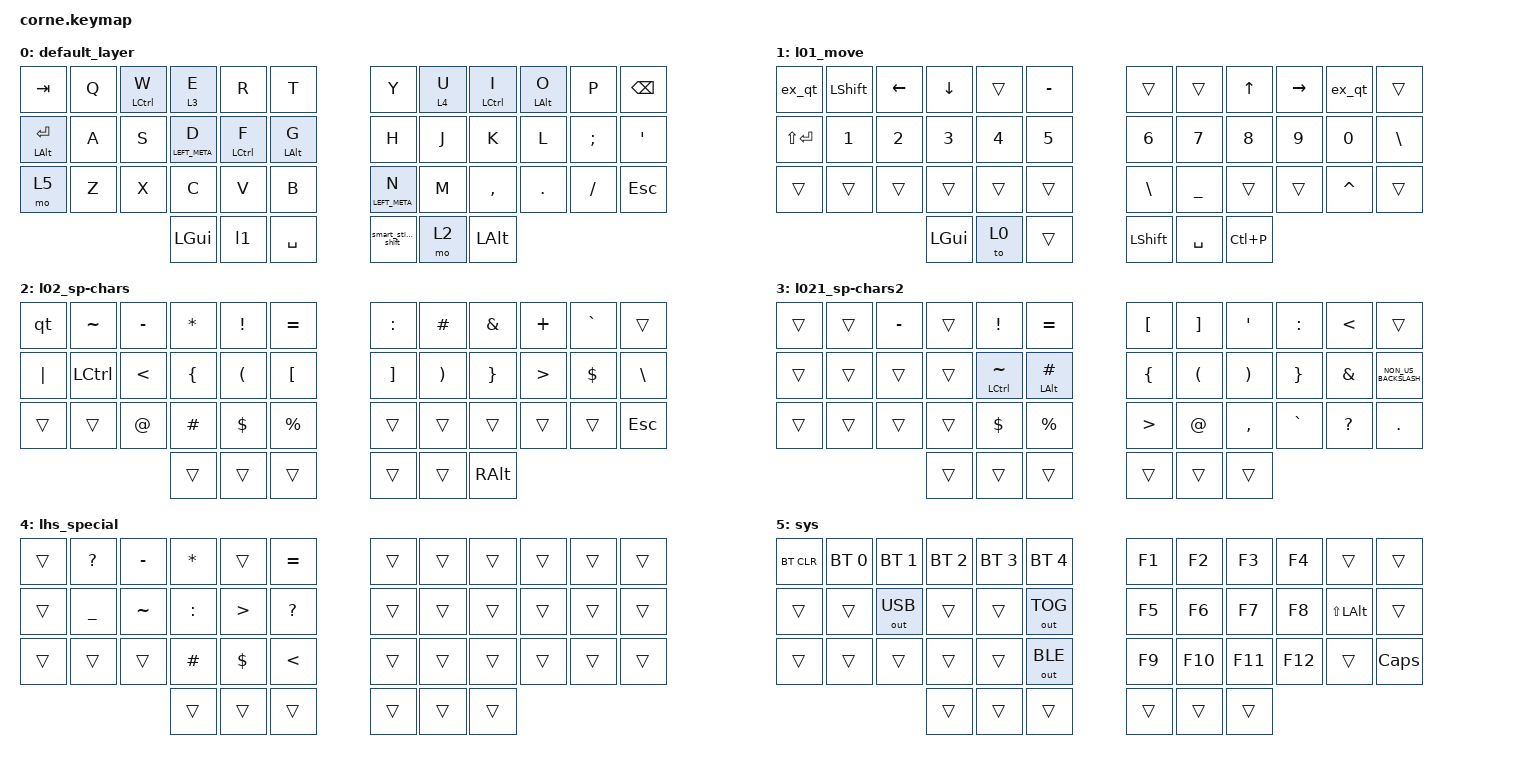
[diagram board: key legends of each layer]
/*
 * Copyright (c) 2020 The ZMK Contributors
 *
 * SPDX-License-Identifier: MIT
 */

#include <behaviors.dtsi>
#include <dt-bindings/zmk/bt.h>
#include <dt-bindings/zmk/keys.h>
#include <dt-bindings/zmk/outputs.h>

/ {
    combos {
        compatible = "zmk,combos";

        c_jo {
            bindings = <&kp ENTER>;
            key-positions = <21 20>;
            require-prior-idle-ms = <125>;
        };

        c_jk {
            bindings = <&kp BACKSPACE>;
            key-positions = <19 20>;
            require-prior-idle-ms = <125>;
        };

        c_wn {
            bindings = <&arr_l>;
            key-positions = <1 30>;
            require-prior-idle-ms = <125>;
            layers = <0>;
        };
    };

    behaviors {
        lt_h: lt_h {
            compatible = "zmk,behavior-hold-tap";
            label = "LT_H";
            bindings = <&mo>, <&kp>;

            #binding-cells = <2>;
            tapping-term-ms = <200>;
        };

        lt_b: lt_b {
            compatible = "zmk,behavior-hold-tap";
            label = "LT_B";
            bindings = <&mo>, <&kp>;

            #binding-cells = <2>;
            tapping-term-ms = <350>;
            quick-tap-ms = <200>;
            require-prior-idle-ms = <100>;
            flavor = "balanced";
        };

        ht_b: ht_b {
            compatible = "zmk,behavior-hold-tap";
            label = "HT_B";
            bindings = <&kp>, <&kp>;

            #binding-cells = <2>;
            tapping-term-ms = <250>;
            quick-tap-ms = <200>;
            require-prior-idle-ms = <75>;
            flavor = "balanced";
        };

        ht_t: ht_t {
            compatible = "zmk,behavior-hold-tap";
            label = "HT_T";
            bindings = <&kp>, <&kp>;

            #binding-cells = <2>;
            tapping-term-ms = <250>;
            quick-tap-ms = <200>;
            require-prior-idle-ms = <150>;
            flavor = "tap-preferred";
        };

        ht_h: ht_h {
            compatible = "zmk,behavior-hold-tap";
            label = "HT_H";
            bindings = <&kp>, <&kp>;

            #binding-cells = <2>;
            tapping-term-ms = <200>;
            quick-tap-ms = <175>;
            require-prior-idle-ms = <0>;
            flavor = "hold-preferred";
        };

        new_behavior: new_behavior {
            compatible = "zmk,behavior-hold-tap";
            label = "NEW_BEHAVIOR";
            bindings = <&mo>, <&kp>;

            #binding-cells = <2>;
            tapping-term-ms = <350>;
            quick-tap-ms = <200>;
            require-prior-idle-ms = <125>;
            flavor = "balanced";
        };

        l1: l1 {
            compatible = "zmk,behavior-tap-dance";
            label = "L1";
            #binding-cells = <0>;
            bindings = <&mo 1>, <&to 1>;
        };

        CM_Shift: CM_Shift {
            compatible = "zmk,behavior-hold-tap";
            label = "CM_SHIFT";
            bindings = <&kp>, <&sticky_SHIFT>;

            #binding-cells = <2>;
            tapping-term-ms = <250>;
            quick-tap-ms = <200>;
            flavor = "tap-preferred";
            require-prior-idle-ms = <0>;
            hold-while-undecided;
        };

        sticky_SHIFT: sticky_SHIFT {
            compatible = "zmk,behavior-sticky-key";
            label = "STICKY_SHIFT";
            bindings = <&kp>;
            #binding-cells = <1>;
            release-after-ms = <2500>;
            quick-release;
        };

        smart_sticky_shift: smart_sticky_shift {
            compatible = "zmk,behavior-mod-morph";
            label = "SMART_STICKY_SHIFT";
            bindings =
                <&CM_Shift LA(LCTRL) LEFT_SHIFT>,
                <&sticky_SHIFT LEFT_SHIFT>;

            #binding-cells = <0>;
            mods = <(MOD_LCTL|MOD_RCTL|MOD_LALT|MOD_RALT|MOD_LGUI|MOD_RGUI)>;
            keep-mods = <(MOD_LCTL|MOD_RCTL|MOD_LALT|MOD_RALT|MOD_LGUI|MOD_RGUI)>;
        };
    };

    macros {
        qt: qt {
            compatible = "zmk,behavior-macro";
            #binding-cells = <0>;
            bindings = <&kp Q &kp T>;
            label = "QT";
        };

        ex_qt: ex_qt {
            compatible = "zmk,behavior-macro";
            #binding-cells = <0>;
            bindings = <&kp AT_SIGN &kp T>;
            label = "EX_QT";
        };

        lm: lm {
            compatible = "zmk,behavior-macro";
            #binding-cells = <0>;
            bindings =
                <&macro_press>,
                <&mo 0 &kp LEFT_SHIFT>,
                <&macro_pause_for_release>,
                <&macro_release>,
                <&mo 0 &kp LEFT_SHIFT>;

            label = "LM";
        };

        arr_l: arr_l {
            compatible = "zmk,behavior-macro";
            #binding-cells = <0>;
            bindings = <&kp MINUS &kp GREATER_THAN>;
            label = "ARR_L";
        };
    };

    keymap {
        compatible = "zmk,keymap";

        default_layer {
            // -----------------------------------------------------------------------------------------
            // |  TAB |  Q  |  W  |  E  |  R  |  T  |   |  Y  |  U   |  I  |  O  |  P  | BSPC |
            // | CTRL |  A  |  S  |  D  |  F  |  G  |   |  H  |  J   |  K  |  L  |  ;  |  '   |
            // | SHFT |  Z  |  X  |  C  |  V  |  B  |   |  N  |  M   |  ,  |  .  |  /  | ESC  |
            //                    | GUI | LWR | SPC |   | ENT | RSE  | ALT |

            bindings = <
&kp TAB             &kp Q  &ht_b LCTRL W  &lt_b 3 E          &kp R          &kp T               &kp Y                &lt_b 4 U  &ht_b LCTRL I  &ht_b LEFT_ALT O  &kp P     &kp BACKSPACE
&mt LEFT_ALT ENTER  &kp A  &kp S          &ht_t LEFT_META D  &ht_b LCTRL F  &ht_b LEFT_ALT G    &kp H                &kp J      &kp K          &kp L             &kp SEMI  &kp SQT
&mo 5               &kp Z  &kp X          &kp C              &kp V          &kp B               &ht_t LEFT_META N    &kp M      &kp COMMA      &kp DOT           &kp FSLH  &kp ESC
                                          &kp LEFT_GUI       &l1            &kp SPACE           &smart_sticky_shift  &mo 2      &kp LEFT_ALT
            >;
        };

        l01_move {
            // -----------------------------------------------------------------------------------------
            // |  TAB |  1  |  2  |  3  |  4  |  5  |   |  6  |  7  |  8  |  9  |  0  | BSPC |
            // | BTCLR| BT1 | BT2 | BT3 | BT4 | BT5 |   | LFT | DWN |  UP | RGT |     |      |
            // | SHFT |     |     |     |     |     |   |     |     |     |     |     |      |
            //                    | GUI |     | SPC |   | ENT |     | ALT |

            bindings = <
&ex_qt       &kp LEFT_SHIFT  &kp LEFT  &kp DOWN  &trans  &kp MINUS    &trans          &trans          &kp UP     &kp RIGHT  &ex_qt     &trans
&kp LS(RET)  &kp NUMBER_1    &kp N2    &kp N3    &kp N4  &kp N5       &kp N6          &kp N7          &kp N8     &kp N9     &kp N0     &kp BACKSLASH
&trans       &trans          &trans    &trans    &trans  &trans       &kp BACKSLASH   &kp UNDERSCORE  &trans     &trans     &kp CARET  &trans
                                       &kp LGUI  &to 0   &trans       &kp LEFT_SHIFT  &kp SPACE       &kp LC(P)
            >;
        };

        l02_sp-chars {
            // -----------------------------------------------------------------------------------------
            // |  TAB |  !  |  @  |  #  |  $  |  %  |   |  ^  |  &  |  *  |  (  |  )  | BSPC |
            // | CTRL |     |     |     |     |     |   |  -  |  =  |  [  |  ]  |  \  |  `   |
            // | SHFT |     |     |     |     |     |   |  _  |  +  |  {  |  }  | "|" |  ~   |
            //                    | GUI |     | SPC |   | ENT |     | ALT |

            bindings = <
&qt       &kp TILDE  &kp MINUS      &kp ASTERISK    &kp EXCL              &kp EQUAL           &kp COLON          &kp HASH               &kp AMPERSAND    &kp PLUS          &kp GRAVE   &trans
&kp PIPE  &kp LCTRL  &kp LESS_THAN  &kp LEFT_BRACE  &kp LEFT_PARENTHESIS  &kp LEFT_BRACKET    &kp RIGHT_BRACKET  &kp RIGHT_PARENTHESIS  &kp RIGHT_BRACE  &kp GREATER_THAN  &kp DOLLAR  &kp BACKSLASH
&trans    &trans     &kp AT_SIGN    &kp HASH        &kp DOLLAR            &kp PERCENT         &trans             &trans                 &trans           &trans            &trans      &kp ESCAPE
                                    &trans          &trans                &trans              &trans             &trans                 &kp RALT
            >;
        };

        l021_sp-chars2 {
            bindings = <
&trans  &trans  &kp MINUS  &trans  &kp EXCLAMATION    &kp EQUAL              &kp LEFT_BRACKET  &kp RIGHT_BRACKET     &kp SINGLE_QUOTE       &kp COLON        &kp LESS_THAN  &trans
&trans  &trans  &trans     &trans  &ht_b LCTRL TILDE  &ht_b LEFT_ALT HASH    &kp LEFT_BRACE    &kp LEFT_PARENTHESIS  &kp RIGHT_PARENTHESIS  &kp RIGHT_BRACE  &kp AMPERSAND  &kp NON_US_BACKSLASH
&trans  &trans  &trans     &trans  &kp DOLLAR         &kp PERCENT            &kp GREATER_THAN  &kp AT_SIGN           &kp COMMA              &kp GRAVE        &kp QUESTION   &kp DOT
                           &trans  &trans             &trans                 &trans            &trans                &trans
            >;
        };

        lhs_special {
            bindings = <
&trans  &kp QUESTION    &kp MINUS  &kp ASTERISK  &trans            &kp EQUAL        &trans  &trans  &trans  &trans  &trans  &trans
&trans  &kp UNDERSCORE  &kp TILDE  &kp COLON     &kp GREATER_THAN  &kp QUESTION     &trans  &trans  &trans  &trans  &trans  &trans
&trans  &trans          &trans     &kp HASH      &kp DOLLAR        &kp LESS_THAN    &trans  &trans  &trans  &trans  &trans  &trans
                                   &trans        &trans            &trans           &trans  &trans  &trans
            >;
        };

        sys {
            bindings = <
&bt BT_CLR  &bt BT_SEL 0  &bt BT_SEL 1  &bt BT_SEL 2  &bt BT_SEL 3  &bt BT_SEL 4    &kp F1  &kp F2   &kp F3   &kp F4   &trans            &trans
&trans      &trans        &out OUT_USB  &trans        &trans        &out OUT_TOG    &kp F5  &kp F6   &kp F7   &kp F8   &kp LS(LEFT_ALT)  &trans
&trans      &trans        &trans        &trans        &trans        &out OUT_BLE    &kp F9  &kp F10  &kp F11  &kp F12  &trans            &kp CLCK
                                        &trans        &trans        &trans          &trans  &trans   &trans
            >;
        };
    };
};
